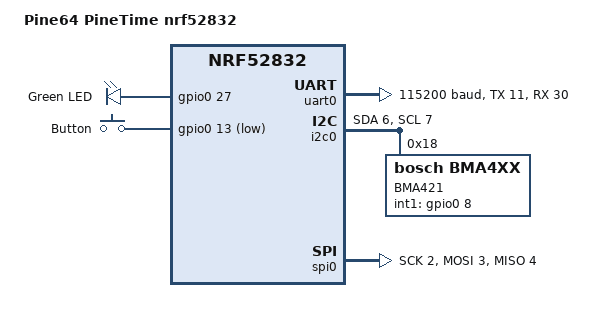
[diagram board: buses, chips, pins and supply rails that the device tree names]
/*
 * Copyright (c) 2017 Linaro Limited
 *
 * SPDX-License-Identifier: Apache-2.0
 */

/dts-v1/;
#include <nordic/nrf52832_qfaa.dtsi>

/ {
	model = "Pine64 PineTime nrf52832";
	compatible = "pine64,pinetime-nrf52832", "nordic,nrf52832-qfaa",
		     "nordic,nrf52832";

	chosen {
		zephyr,console = &uart0;
		zephyr,shell-uart = &uart0;
		zephyr,bt-mon-uart = &uart0;
		zephyr,bt-c2h-uart = &uart0;
		zephyr,sram = &sram0;
		zephyr,flash = &flash0;
		zephyr,code-partition = &slot0_partition;
	};

	/* These aliases are provided for compatibility with samples */
	aliases {
		led0 = &led0;
		status-led= &led0;
		sw0 = &button0;
		key-in = &button0;
	};

	leds {
		compatible = "gpio-leds";
		led0: led_0 {
			gpios = <&gpio0 27 GPIO_INT_ACTIVE_HIGH>;
			label = "Green LED";
		};
	};

	buttons {
		compatible = "gpio-keys";
		button0: button_0 {
			gpios = <&gpio0 13 (GPIO_PUD_PULL_UP |
					    GPIO_INT_ACTIVE_LOW)>;
			label = "Button";
		};
	};
};

&gpiote {
	status = "okay";
};

&gpio0 {
	status = "okay";
};

&uart0 {
	compatible = "nordic,nrf-uart";
	current-speed = <115200>;
	status = "okay";
	tx-pin = <11>;
	rx-pin = <30>;
};

&i2c0 {
	compatible = "nordic,nrf-twi";
	status = "okay";
	sda-pin = <6>;
	scl-pin = <7>;

	bma421: bma421@18 {
		compatible = "bosch,bma4xx";
		reg = <0x18>;
		label = "BMA421";
		int1-gpios = <&gpio0 8 0>;
	};
};

&spi0 {
	compatible = "nordic,nrf-spi";
	status = "okay";
	sck-pin = <2>;
	mosi-pin = <3>;
	miso-pin = <4>;
};

&flash0 {
	/*
	 * For more information, see:
	 * http://docs.zephyrproject.org/latest/guides/dts/index.html#flash-partitions
	 */
	partitions {
		compatible = "fixed-partitions";
		#address-cells = <1>;
		#size-cells = <1>;

		boot_partition: partition@0 {
			label = "mcuboot";
			reg = <0x00000000 0x8000>;
		};
		slot0_partition: partition@8000 {
			label = "image-0";
			reg = <0x00008000 0x34000>;
		};
		slot1_partition: partition@3c000 {
			label = "image-1";
			reg = <0x0003c000 0x34000>;
		};
		scratch_partition: partition@70000 {
			label = "image-scratch";
			reg = <0x00070000 0xa000>;
		};

		/*
		 * The flash starting at 0x0007a000 and ending at
		 * 0x0007ffff (sectors 122-127) is reserved for use
		 * by the application. If enabled, partition for FCB/NFFS
		 * will be created in this area.
		 */
		storage_partition: partition@7a000 {
			label = "storage";
			reg = <0x0007a000 0x00006000>;
		};
	};
};
